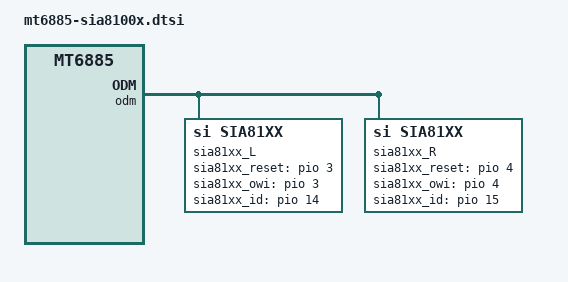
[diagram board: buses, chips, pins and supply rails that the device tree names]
/* Copyright (c) 2018, The Linux Foundation. All rights reserved.
 *
 * This program is free software; you can redistribute it and/or modify
 * it under the terms of the GNU General Public License version 2 and
 * only version 2 as published by the Free Software Foundation.
 *
 * This program is distributed in the hope that it will be useful,
 * but WITHOUT ANY WARRANTY; without even the implied warranty of
 * MERCHANTABILITY or FITNESS FOR A PARTICULAR PURPOSE.  See the
 * GNU General Public License for more details.
 */

&pio {
	sia81xx_gpio_L: sia81xx_gpio_L {
		pins_cmd_dat {
			pinmux = <PINMUX_GPIO3__FUNC_GPIO3>;
			
			slew-rate = <1>;
			bias-disable;
		};
	};
	

        sia81xx_id_L: sia81xx_id_L {
                pins_cmd_dat {
                        pinmux = <PINMUX_GPIO14__FUNC_GPIO14>;

                        slew-rate = <1>;
                        bias-disable;
                };
        };


	
	sia81xx_gpio_R: sia81xx_gpio_R {
		pins_cmd_dat {
			pinmux = <PINMUX_GPIO4__FUNC_GPIO4>;
			
			slew-rate = <1>;
			bias-disable;
		};
	};

        sia81xx_id_R: sia81xx_id_R {
                pins_cmd_dat {
                        pinmux = <PINMUX_GPIO15__FUNC_GPIO15>;

                        slew-rate = <1>;
                        bias-disable;
                };
        };

};

&odm {
	sia81xx_L: sia81xx@L {
		compatible = "si,sia81xx";
		si,sia81xx_type = "sia8100x";
		si,sia81xx_reset = <&pio 3 0>;
		si,sia81xx_owi = <&pio 3 0>;
		si,sia81xx_id = <&pio 14 0>;
		pinctrl-names = "sia81xx_gpio","sia81xx_id";
		pinctrl-0 = <&sia81xx_gpio_L>;
		pinctrl-1 = <&sia81xx_id_L>;
		
		si,sia81xx_disable_pin = <0>;
		
		/* the same value share a same task
		 * valid value range : 0 ~ 7 */
		timer_task_hdl = <0>;
		
		channel_num = <0>;
		owi_mode = <10>;
		en_x_filter = <0>;
		en_dynamic_id = <1>;
		en_dynamic_updata_vdd = <0>;
		en_dynamic_updata_pvdd = <0>;
		dynamic_updata_vdd_port = <0x2>;
	};

	sia81xx_R: sia81xx@R {
		compatible = "si,sia81xx";
		si,sia81xx_type = "sia8100x";
		si,sia81xx_reset = <&pio 4 0>;
		si,sia81xx_owi = <&pio 4 0>;
		si,sia81xx_id = <&pio 15 0>;
		pinctrl-names = "sia81xx_gpio","sia81xx_id";
		pinctrl-0 = <&sia81xx_gpio_R>,<&sia81xx_id_R>;
		
		si,sia81xx_disable_pin = <0>;

		/* the same value share a same task
		 * valid value range : 0 ~ 7 */
		timer_task_hdl = <0>;
		
		channel_num = <1>;
		owi_mode = <10>;
		en_x_filter = <0>;
		en_dynamic_id = <1>;
		en_dynamic_updata_vdd = <0>;
		en_dynamic_updata_pvdd = <0>;
		dynamic_updata_vdd_port = <0x2>;
	};
};

&sound {
	si,sia81xx-max-num = <2>;
	si,sia81xx-aux-devs = <&sia81xx_L>, <&sia81xx_R>;
	si,sia81xx-aux-devs-prefix = "SpkrLeft", "SpkrRight";
};

